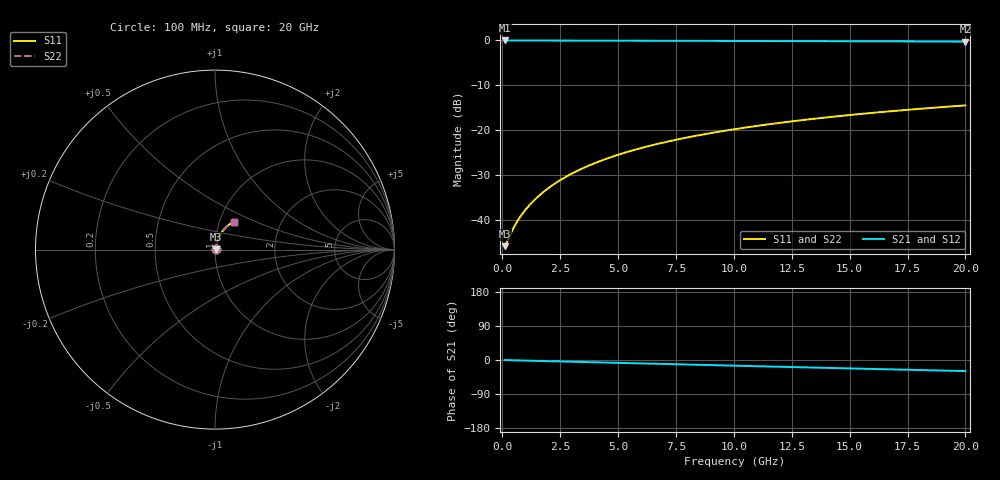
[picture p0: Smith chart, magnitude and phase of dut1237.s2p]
! Touchstone file exported from HFSS 2026.1.0
!  File:  C:/ffzhzh/LocalFiles/Ansys_Project_Files/temp_train_TMRDL_1237_1783163599_18472.aedt
!  Generated:  07:14:26 PM Jul  4, 2026
!  Design:  TMRDL
!  Project:  temp_train_TMRDL_1237_1783163599_18472
! Variables:
!  h_bsmrdl = 2um
!  h_ox = 20um
!  h_rdl = 5um
!  h_sub = 80um
!  h_tmrdl = 2.86um
!  h_tsv = 80um
!  h_via = 3um
!  l_bsmrdl = 300um
!  l_sub = 886.52um
!  l_tmrdl = 486.52um
!  m_sub = 200um
!  pitch = 20.47um
!  r_tsv = 6um
!  s_tmrdl = 10um
!  w_bsmrdl = 18um
!  w_sub = 500um
!  w_tmrdl = 12.51um
!  x_tsv_center1 = 492.775um
!  x_tsv_center2 = 810.775um
!  x_tsv_center3 = 1309.805um
!  x_tsv_center4 = 1627.805um
!  x_tsv_center5 = 2126.835um
!  x_tsv_center6 = 2444.835um
# GHz S MA R 50.000000
! Terminal data exported
! Port[1] = TM_RDL1_1_T1
! Port[2] = TM_RDL1_1_T2
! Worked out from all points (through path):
!   200 points, 100 MHz to 20 GHz, reference 50 ohm
!   highest |S21| = -0.04 dB at 100 MHz (marker M1); lowest = -0.3 dB at 20 GHz (marker M2)
!   group delay of S21, straight-line fit = 4.06 ps
!   lowest |S11| = -45.8 dB at 100 MHz (marker M3), VSWR 1.01, Z = 50.5 + j0.131 ohm
!   |S11| at or under -10 dB: start of sweep to end of sweep
!   |S22| runs from -45.8 to -14.5 dB; largest |S21 - S12| = 3.8e-15
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0.1  0.005101 14.7  0.9951 -0.2  0.9951 -0.2  0.005101 14.7
! Gamma 0 0 0 0
! Port Impedance 50 0 50 0
0.2  0.005659 26.9  0.995 -0.3  0.995 -0.3  0.005659 26.9
0.5  0.008251 47.3  0.9945 -0.8  0.9945 -0.8  0.008251 47.3
0.7  0.01013 53.9  0.9942 -1.1  0.9942 -1.1  0.01014 53.9
0.8  0.01108 56.3  0.994 -1.3  0.994 -1.3  0.01108 56.3
1  0.01297 60.1  0.9938 -1.6  0.9938 -1.6  0.01297 60.1
1.2  0.01487 63.1  0.9936 -1.9  0.9936 -1.9  0.01487 63.1
1.4  0.01679 65.3  0.9935 -2.2  0.9935 -2.2  0.01679 65.3
1.8  0.0207 68.6  0.9932 -2.8  0.9932 -2.8  0.0207 68.6
2.3  0.02569 71.1  0.9929 -3.5  0.9929 -3.5  0.02569 71.1
2.9  0.03175 72.8  0.9925 -4.4  0.9925 -4.4  0.03175 72.8
3.5  0.03784 73.6  0.992 -5.3  0.992 -5.3  0.03785 73.6
4.2  0.04497 73.9  0.9915 -6.4  0.9915 -6.4  0.04497 73.9
5  0.05308 73.8  0.9907 -7.6  0.9907 -7.6  0.05308 73.8
5.9  0.06214 73.3  0.9897 -8.9  0.9897 -8.9  0.06214 73.3
6.8  0.0711 72.6  0.9886 -10.3  0.9886 -10.3  0.0711 72.5
8.3  0.08579 71.0  0.9866 -12.5  0.9866 -12.5  0.08579 71.0
10.1  0.103 68.8  0.9839 -15.1  0.9839 -15.1  0.103 68.8
11.7  0.1178 66.8  0.9812 -17.5  0.9812 -17.5  0.1178 66.8
13.4  0.1331 64.6  0.9783 -19.9  0.9783 -19.9  0.1331 64.6
16.7  0.1615 60.3  0.9724 -24.6  0.9724 -24.6  0.1615 60.2
20  0.1882 55.9  0.9662 -29.3  0.9662 -29.3  0.1882 55.9
